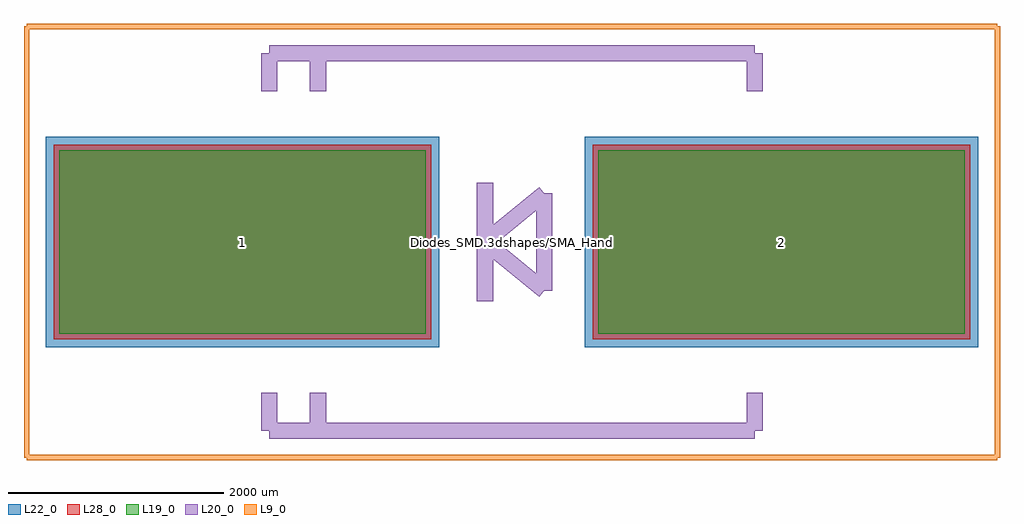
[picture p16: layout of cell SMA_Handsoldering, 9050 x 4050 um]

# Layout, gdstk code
import gdstk
lib = gdstk.Library(unit=1e-6, precision=1e-09)
def R(c, l, rs):  # rectangles x0, y0, x1, y1
    for r in rs: c.add(gdstk.rectangle(r[:2], r[2:], *l))
L9_0 = (9, 0)
L19_0 = (19, 0)
L20_0 = (20, 0)
L22_0 = (22, 0)
L28_0 = (28, 0)

sma_handsoldering = lib.new_cell('SMA_Handsoldering')
R(sma_handsoldering, L19_0, [(-4199.42,-850.43,-799.3,850.43), (799.3,-850.43,4199.42,850.43)])
R(sma_handsoldering, L22_0, [(-4324.42,-975.43,-674.3,975.43), (674.3,-975.43,4324.42,975.43)])
R(sma_handsoldering, L28_0, [(-4249.42,-900.43,-749.3,900.43), (749.3,-900.43,4249.42,900.43)])
sma_handsoldering.add(gdstk.FlexPath([(-2250.44,1750.06),(2250.44,1750.06)], 149.998, ends="flush", simple_path=True, layer=20, datatype=0))  # L20_0
sma_handsoldering.add(gdstk.FlexPath([(-2250.44,-1750.06),(2250.44,-1750.06)], 149.998, ends="flush", simple_path=True, layer=20, datatype=0))  # L20_0
sma_handsoldering.add(gdstk.FlexPath([(2250.44,1750.06),(2250.44,1399.54)], 149.998, ends="flush", simple_path=True, layer=20, datatype=0))  # L20_0
sma_handsoldering.add(gdstk.FlexPath([(-2250.44,1750.06),(-2250.44,1399.54)], 149.998, ends="flush", simple_path=True, layer=20, datatype=0))  # L20_0
sma_handsoldering.add(gdstk.FlexPath([(-2250.44,-1750.06),(-2250.44,-1399.54)], 149.998, ends="flush", simple_path=True, layer=20, datatype=0))  # L20_0
sma_handsoldering.add(gdstk.FlexPath([(2250.44,-1750.06),(2250.44,-1399.54)], 149.998, ends="flush", simple_path=True, layer=20, datatype=0))  # L20_0
sma_handsoldering.add(gdstk.FlexPath([(-1799.14,1750.06),(-1799.14,1399.54)], 149.998, ends="flush", simple_path=True, layer=20, datatype=0))  # L20_0
sma_handsoldering.add(gdstk.FlexPath([(-1799.14,-1750.06),(-1799.14,-1399.54)], 149.998, ends="flush", simple_path=True, layer=20, datatype=0))  # L20_0
sma_handsoldering.add(gdstk.FlexPath([(-250,550),(-250,-550)], 149.998, ends="flush", simple_path=True, layer=20, datatype=0))  # L20_0
sma_handsoldering.add(gdstk.FlexPath([(300,-450),(-250,0)], 149.998, ends="flush", simple_path=True, layer=20, datatype=0))  # L20_0
sma_handsoldering.add(gdstk.FlexPath([(300,450),(300,-450)], 149.998, ends="flush", simple_path=True, layer=20, datatype=0))  # L20_0
sma_handsoldering.add(gdstk.FlexPath([(-250,0),(300,450)], 149.998, ends="flush", simple_path=True, layer=20, datatype=0))  # L20_0
sma_handsoldering.add(gdstk.FlexPath([(-4500,-2000),(-4500,2000)], 50, ends="flush", simple_path=True, layer=9, datatype=0))  # L9_0
sma_handsoldering.add(gdstk.FlexPath([(4500,-2000),(-4500,-2000)], 50, ends="flush", simple_path=True, layer=9, datatype=0))  # L9_0
sma_handsoldering.add(gdstk.FlexPath([(4500,2000),(4500,-2000)], 50, ends="flush", simple_path=True, layer=9, datatype=0))  # L9_0
sma_handsoldering.add(gdstk.FlexPath([(-4500,2000),(4500,2000)], 50, ends="flush", simple_path=True, layer=9, datatype=0))  # L9_0
sma_handsoldering.add(gdstk.Label('Diodes_SMD.3dshapes/SMA_Handsoldering.wrl', (0,0), layer=12, texttype=0))
sma_handsoldering.add(gdstk.Label('2', (2499.36,0), layer=28, texttype=0))
sma_handsoldering.add(gdstk.Label('1', (-2499.36,0), layer=28, texttype=0))
sma_handsoldering.add(gdstk.Label('A', (3050,-2850), layer=9, texttype=0))
sma_handsoldering.add(gdstk.Label('K', (-3250,-2900), layer=9, texttype=0))
sma_handsoldering.add(gdstk.Label('type', (50,-4400), layer=9, texttype=0))
sma_handsoldering.add(gdstk.Label('devicename', (0,2850), layer=9, texttype=0))

lib.write_gds('SMA_Handsoldering.gds')
